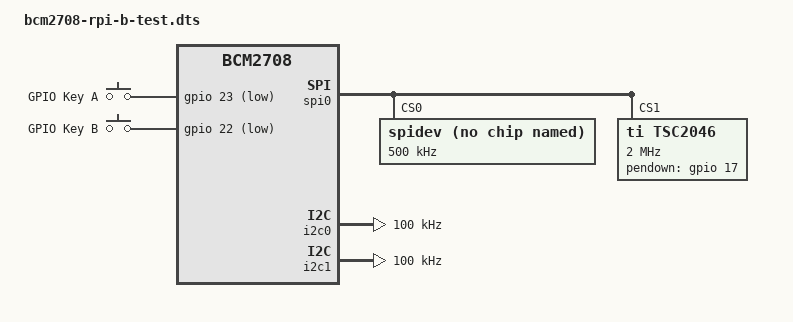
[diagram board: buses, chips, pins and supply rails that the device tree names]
/dts-v1/;

/include/ "bcm2708-rpi.dtsi"

/ {
	gpio_keys {
		compatible = "gpio-keys";
		pinctrl-names = "default";
		pinctrl-0 = <&gpio_keys_pins>;

		status = "okay";

		#address-cells = <1>;
		#size-cells = <0>;
		autorepeat;
		button@a {
			label = "GPIO Key A";
			linux,code = <30>;
			gpios = <&gpio 23 1>;
		};
		button@b {
			label = "GPIO Key B";
			linux,code = <48>;
			gpios = <&gpio 22 1>;
		};
	};
};

&gpio {
	gpio_keys_pins: gpio_keys {
		brcm,pins = <23 22>;
		brcm,function = <0>; /* GPIO in */
		brcm,pull = <2>; /* pull up */
	};
};

&spi0 {
	status = "okay";

	spidev@0{
		compatible = "spidev";
		reg = <0>;	/* CE0 */
		#address-cells = <1>;
		#size-cells = <0>;
		spi-max-frequency = <500000>;
		// Mode 0 (CPOL = 0, CPHA = 0)
		status = "okay";
	};

	spidev@1{
		compatible = "spidev";
		reg = <1>;	/* CE1 */
		#address-cells = <1>;
		#size-cells = <0>;
		spi-max-frequency = <500000>;
		// Mode 0 (CPOL = 0, CPHA = 0)
		status = "disabled";
	};

	tsc2046@1 {
		compatible = "ti,tsc2046";
		reg = <1>;	/* CE1 */
		interrupts = <3 17>;	/* bank 3 is GPIO interrupts */
		spi-max-frequency = <2000000>;
		pendown-gpio = <&gpio 17 0>;

		ti,x-min = /bits/ 16 <230>;
		ti,x-max = /bits/ 16 <3850>;
		ti,y-min = /bits/ 16 <190>;
		ti,y-max = /bits/ 16 <3850>;
		ti,x-plate-ohms = /bits/ 16 <60>;
		ti,pressure-max = /bits/ 16 <255>;

		linux,wakeup;
		status = "okay";
	};
};

&i2c0 {
	status = "okay";
	clock-frequency = <100000>;
};

&i2c1 {
	status = "okay";
	clock-frequency = <100000>;
};
